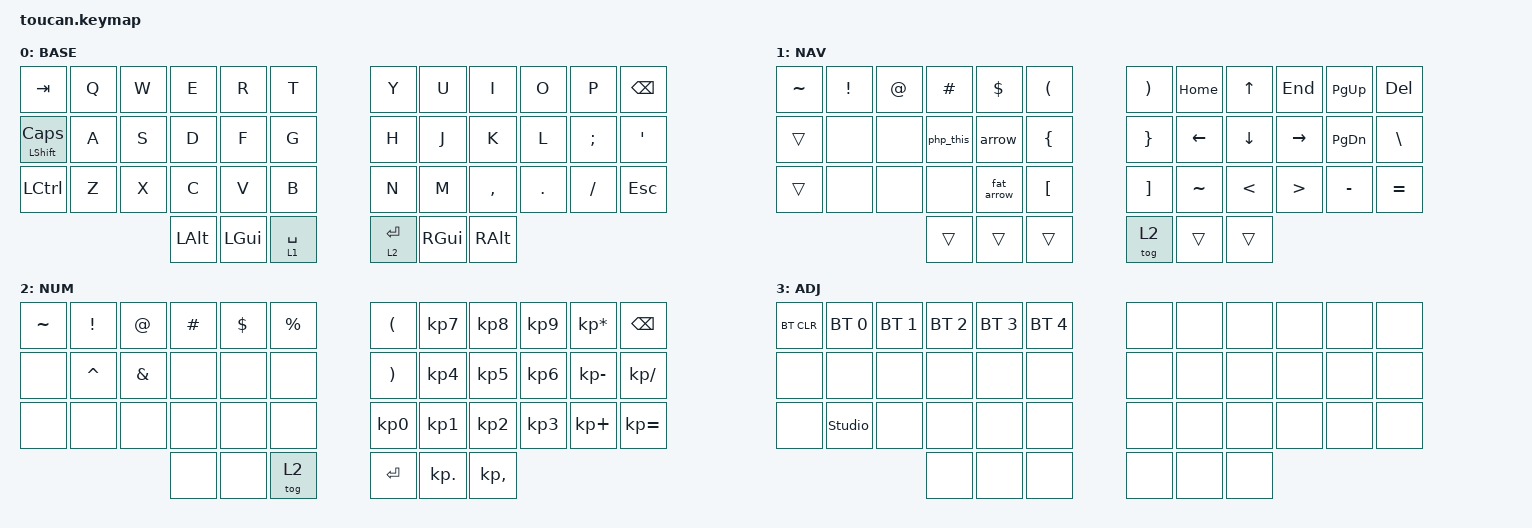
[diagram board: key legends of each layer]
#include <behaviors.dtsi>
#include <dt-bindings/zmk/bt.h>
#include <dt-bindings/zmk/keys.h>

#define BASE 0
#define NAV  1
#define NUM  2
#define ADJ  3

/ {
    conditional_layers {
        compatible = "zmk,conditional-layers";
        tri_layer {
            if-layers = <NAV NUM>;
            then-layer = <ADJ>;
        };
    };

    macros {
        php_this: php_this {
            compatible = "zmk,behavior-macro";
            #binding-cells = <0>;
            bindings = <&kp DLLR &kp T &kp H &kp I &kp S &kp MINUS &kp GT>;
        };

        arrow: arrow {
            compatible = "zmk,behavior-macro";
            #binding-cells = <0>;
            bindings = <&kp MINUS &kp GT>;
        };

        fat_arrow: fat_arrow {
            compatible = "zmk,behavior-macro";
            #binding-cells = <0>;
            bindings = <&kp EQUAL &kp GT>;
        };
    };

    keymap {
        compatible = "zmk,keymap";

        base {
            display-name = "BASE";
            bindings = <
                &kp TAB        &kp Q  &kp W  &kp E  &kp R  &kp T        &kp Y  &kp U  &kp I      &kp O    &kp P     &kp BSPC
                &mt LSHFT CLCK &kp A  &kp S  &kp D  &kp F  &kp G        &kp H  &kp J  &kp K      &kp L    &kp SEMI  &kp SQT
                &kp LCTRL      &kp Z  &kp X  &kp C  &kp V  &kp B        &kp N  &kp M  &kp COMMA  &kp DOT  &kp FSLH  &kp ESC
                                        &kp LALT  &kp LGUI  &lt 1 SPACE  &lt 2 RET  &kp RGUI  &kp RALT
            >;
        };

        nav {
            display-name = "NAV";
            bindings = <
                &kp TILDE  &kp EXCL  &kp AT  &kp HASH   &kp DLLR    &kp LPAR      &kp RPAR  &kp HOME  &kp UP    &kp END    &kp PG_UP  &kp DEL
                &trans     &none     &none   &php_this  &arrow      &kp LBRC      &kp RBRC  &kp LEFT  &kp DOWN  &kp RIGHT  &kp PG_DN  &kp BSLH
                &trans     &none     &none   &none      &fat_arrow  &kp LBKT      &kp RBKT  &kp TILDE &kp LT    &kp GT     &kp MINUS  &kp EQUAL
                                              &trans     &trans      &trans        &tog 2    &trans    &trans
            >;
        };

        num {
            display-name = "NUM";
            bindings = <
                &kp TILDE  &kp EXCL   &kp AT    &kp HASH  &kp DLLR  &kp PRCNT     &kp LPAR  &kp KP_N7  &kp KP_N8  &kp KP_N9  &kp KP_MULTIPLY  &kp BSPC
                &none      &kp CARET  &kp AMPS  &none     &none     &none         &kp RPAR  &kp KP_N4  &kp KP_N5  &kp KP_N6  &kp KP_MINUS     &kp KP_DIVIDE
                &none      &none      &none     &none     &none     &none         &kp KP_N0 &kp KP_N1  &kp KP_N2  &kp KP_N3  &kp KP_PLUS      &kp KP_EQUAL
                                                 &none     &none     &tog 2        &kp RET   &kp KP_DOT &kp KP_COMMA
            >;
        };

        adj {
            display-name = "ADJ";
            bindings = <
                &bt BT_CLR  &bt BT_SEL 0  &bt BT_SEL 1  &bt BT_SEL 2  &bt BT_SEL 3  &bt BT_SEL 4    &none  &none  &none  &none  &none  &none
                &none       &none         &none         &none         &none         &none               &none  &none  &none  &none  &none  &none
                &none       &studio_unlock &none        &none         &none         &none               &none  &none  &none  &none  &none  &none
                                           &none         &none         &none                            &none  &none  &none
            >;
        };

        extra_1 { status = "reserved"; };
        extra_2 { status = "reserved"; };
        extra_3 { status = "reserved"; };
    };
};
